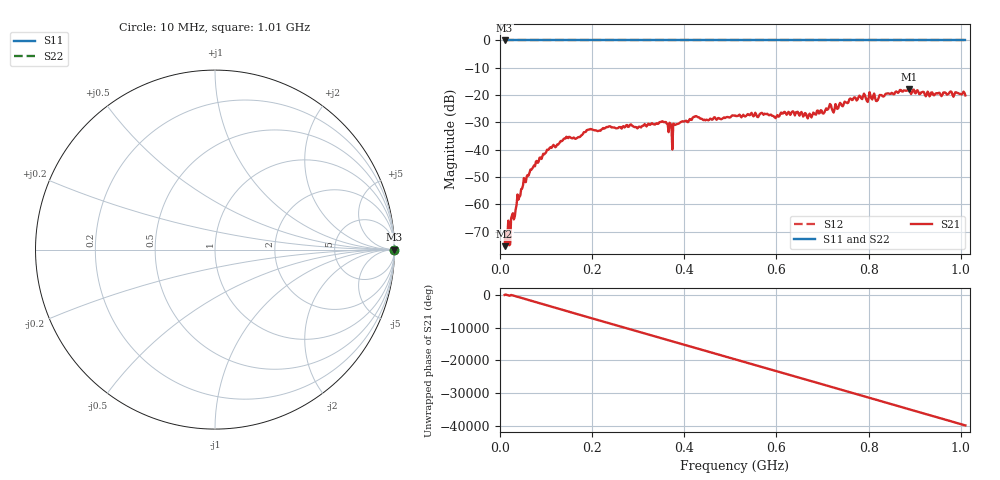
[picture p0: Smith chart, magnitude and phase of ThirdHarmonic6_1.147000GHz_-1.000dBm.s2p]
! 8/16/2025 11:20:53 AM
! C:\ANRITSUVNA\TEMP\TEMP.S2P
! CHANNEL.1
! TR.MEASUREMENT
! RAW.DATA
! RF.CORRECTION.OFF
! AVERAGING.OFF
! IF.BANDWIDTH: 5KHZ
! SWEEPTYPE:  FREQ.SWEEP(Linear)
! Reference Plane Port Info
! PORT:  PORT1  PORT2
! DISTANCE:  0  m  0  m
! TIME:  0  s  0  s
! PHASE.OFFSET:  0  deg.  0  deg.
! LOSS:  0  dB  0  dB
! REF.LOSS:  0  dB  0  dB
! REF.FREQ:  0  Hz  0  Hz
! Power Info
! POWER:  -20  dBm  -20  dBm
! EFF.POWER:  -20  dBm  -20  dBm
! SOURCE.ATTEN:  0  dB  0  dB
! TEST.ATTEN:  0  dB  0  dB
# GHZ S RI R 50.0
! FREQ.GHZ  S11RE  S11IM  S21RE  S21IM  S12RE  S12IM  S22RE  S22IM
!; PortSelection: Port_12
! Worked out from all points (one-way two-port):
!   501 points, 10 MHz to 1.01 GHz, reference 50 ohm
!   highest |S21| = -17.94 dB at 888 MHz (marker M1); lowest = -75.3 dB at 10 MHz (marker M2)
!   lowest |S11| = 0.0 dB at 10 MHz (marker M3)
!   |S11| at or under -10 dB: nowhere
!   |S22| runs from 0.0 to 0.0 dB; largest |S21 - S12| = 1.1
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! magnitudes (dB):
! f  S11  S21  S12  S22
! 10 MHz  0.0  -75.3  0.0  0.0
! 14 MHz  0.0  -74.7  0.0  0.0
! 18 MHz  0.0  -66.0  0.0  0.0
! 28 MHz  0.0  -63.2  0.0  0.0
! 50 MHz  0.0  -53.0  0.0  0.0
! 70 MHz  0.0  -46.9  0.0  0.0
! 112 MHz  0.0  -39.3  0.0  0.0
! 178 MHz  0.0  -34.6  0.0  0.0
! 194 MHz  0.0  -32.6  0.0  0.0
! 344 MHz  0.0  -30.5  0.0  0.0
! 360 MHz  0.0  -29.9  0.0  0.0
! 370 MHz  0.0  -30.5  0.0  0.0
! 378 MHz  0.0  -30.7  0.0  0.0
! 380 MHz  0.0  -30.9  0.0  0.0
! 422 MHz  0.0  -28.0  0.0  0.0
! 510 MHz  0.0  -27.5  0.0  0.0
! 678 MHz  0.0  -27.3  0.0  0.0
! 764 MHz  0.0  -21.8  0.0  0.0
! 818 MHz  0.0  -22.2  0.0  0.0
! 844 MHz  0.0  -19.4  0.0  0.0
! 888 MHz  0.0  -17.9  0.0  0.0
! 1.01 GHz  0.0  -20.1  0.0  0.0
